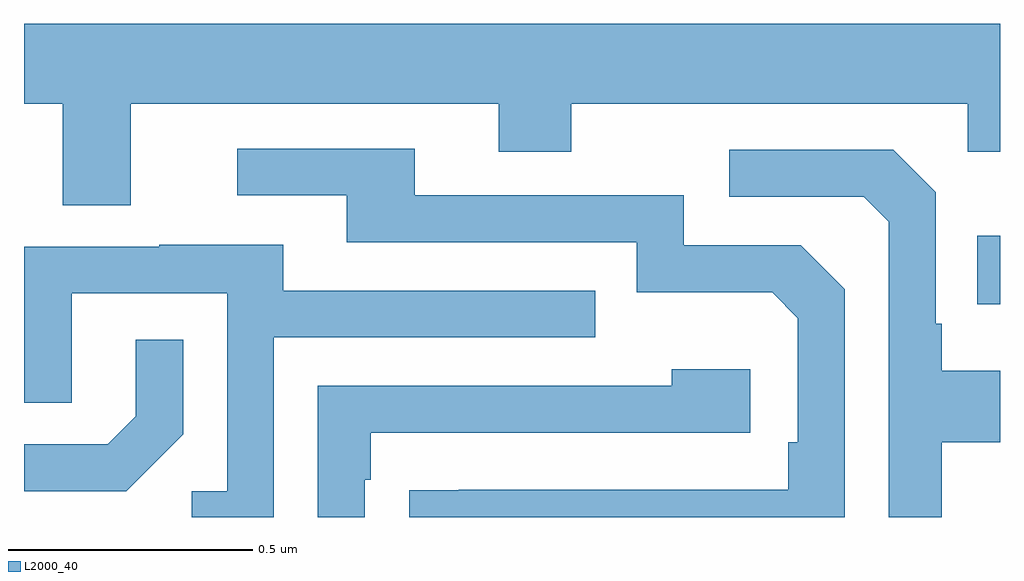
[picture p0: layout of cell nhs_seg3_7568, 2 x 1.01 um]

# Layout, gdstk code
import gdstk
lib = gdstk.Library(unit=1e-6, precision=1e-09)
def R(c, l, rs):  # rectangles x0, y0, x1, y1
    for r in rs: c.add(gdstk.rectangle(r[:2], r[2:], *l))
def P(c, l, *ps):  # polygons
    for p in ps: c.add(gdstk.Polygon(p, *l))
L2000_40 = (2000, 40)

nhs_seg3_7568 = lib.new_cell('nhs_seg3_7568')
R(nhs_seg3_7568, L2000_40, [(206.953,701.837,207,701.977)])
P(nhs_seg3_7568, L2000_40, [(205.219,702.248),(205.973,702.248),(205.973,702.149),(206.121,702.149),(206.121,702.248),(206.934,702.248),(206.934,702.149),(207,702.149),(207,702.412),(205,702.412),(205,702.248),(205.079,702.248),(205.079,702.04),(205.219,702.04)],
  [(206.682,701.868),(206.592,701.958),(206.352,701.958),(206.352,702.06),(205.801,702.06),(205.801,702.156),(205.437,702.156),(205.437,702.06),(205.661,702.06),(205.661,701.964),(206.256,701.964),(206.256,701.861),(206.533,701.861),(206.586,701.808),(206.586,701.554),(206.566,701.554),(206.566,701.457),(205.891,701.457),(205.891,701.456),(205.789,701.456),(205.789,701.4),(206.682,701.4)],
  [(206.881,701.554),(207,701.554),(207,701.701),(206.881,701.701),(206.881,701.797),(206.868,701.797),(206.868,702.066),(206.781,702.153),(206.445,702.153),(206.445,702.057),(206.721,702.057),(206.772,702.006),(206.772,701.4),(206.881,701.4)],
  [(205.512,701.769),(206.171,701.769),(206.171,701.865),(205.531,701.865),(205.531,701.959),(205.277,701.959),(205.277,701.955),(205,701.955),(205,701.635),(205.098,701.635),(205.098,701.859),(205.416,701.859),(205.416,701.454),(205.344,701.454),(205.344,701.4),(205.512,701.4)],
  [(205.326,701.57),(205.326,701.764),(205.229,701.764),(205.229,701.607),(205.172,701.55),(205,701.55),(205,701.454),(205.21,701.454)],
  [(205.698,701.477),(205.711,701.477),(205.711,701.574),(206.488,701.574),(206.488,701.704),(206.327,701.704),(206.327,701.67),(205.602,701.67),(205.602,701.4),(205.698,701.4)])

lib.write_gds('nhs_seg3_7568.gds')
